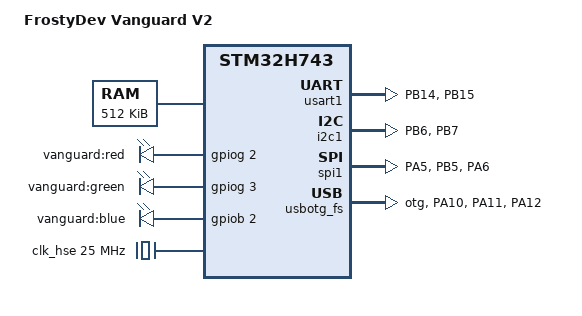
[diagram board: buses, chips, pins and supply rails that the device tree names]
/dts-v1/;
/*
 * Device Tree Source for the Vanguard V2 Flight Controller.
 * Customized for bare-metal XIP execution on the STM32H743VIT.
 * Pin mappings derived from Vanguard V2 board.h
 */
#include "stm32h743.dtsi"
#include "stm32h7-pinctrl.dtsi"
#include <dt-bindings/pinctrl/stm32-pinfunc.h>
#include <dt-bindings/gpio/gpio.h>

/ {
	model = "FrostyDev Vanguard V2";
	compatible = "frostydev,vanguard-v2", "st,stm32h743";

	chosen {
		/* Boot directly from internal initramfs with early debug output */
		bootargs = "root=/dev/ram init=/init console=ttyGS0,115200 ignore_loglevel";
		stdout-path = "serial0:115200n8";
	};

	/* 512KB Internal AXI SRAM mapped for Linux main memory */
	memory@24000000 {
		device_type = "memory";
		reg = <0x24000000 0x80000>;
	};

	aliases {
		serial0 = &usart1;
	};

	/* Vanguard V2 Diagnostics LEDs */
	leds {
		compatible = "gpio-leds";

		led-red {
			label = "vanguard:red";
			gpios = <&gpiog 2 GPIO_ACTIVE_HIGH>; /* PG2 */
			default-state = "off";
		};

		led-green {
			label = "vanguard:green";
			gpios = <&gpiog 3 GPIO_ACTIVE_HIGH>; /* PG3 */
			default-state = "off";
		};

		led-blue {
			label = "vanguard:blue";
			gpios = <&gpiob 2 GPIO_ACTIVE_HIGH>; /* PB2 */
			default-state = "off";
		};
	};
};

/* --- CLOCK OVERRIDES --- */
&clk_hse {
	/* MCO: 25 MHz HSE derived from board.h */
	clock-frequency = <25000000>;
};

/* --- PINCTRL MULTIPLEXING DEFINITIONS --- */
&pinctrl {

	usart1_pins: usart1-0 {
		pins1 {
			pinmux = <STM32_PINMUX('B', 14, AF4)>; /* USART1_TX */
			bias-disable;
			drive-push-pull;
			slew-rate = <0>;
		};
		pins2 {
			pinmux = <STM32_PINMUX('B', 15, AF4)>; /* USART1_RX */
			bias-disable;
		};
	};

	i2c1_pins: i2c1-0 {
		pins {
			pinmux = <STM32_PINMUX('B', 6, AF4)>,  /* I2C1_SCL */
			         <STM32_PINMUX('B', 7, AF4)>;  /* I2C1_SDA */
			bias-disable;
			drive-open-drain;
			slew-rate = <0>;
		};
	};

	spi1_pins: spi1-0 {
		pins1 {
			pinmux = <STM32_PINMUX('A', 5, AF5)>,  /* SPI1_SCK */
			         <STM32_PINMUX('B', 5, AF5)>;  /* SPI1_MOSI */
			bias-disable;
			drive-push-pull;
			slew-rate = <2>;
		};
		pins2 {
			pinmux = <STM32_PINMUX('A', 6, AF5)>;  /* SPI1_MISO */
			bias-disable;
		};
	};

	usbotg_fs_pins: usbotg_fs-0 {
		pins {
			pinmux = <STM32_PINMUX('A', 10, AF10)>, /* OTG_FS_ID */
			         <STM32_PINMUX('A', 11, AF10)>, /* OTG_FS_DM */
			         <STM32_PINMUX('A', 12, AF10)>; /* OTG_FS_DP */
			bias-disable;
			drive-push-pull;
			slew-rate = <2>;
		};
	};
};

/* --- PERIPHERAL ACTIVATION --- */

&usart1 {
	pinctrl-0 = <&usart1_pins>;
	pinctrl-names = "default";
	status = "okay";
};

&i2c1 {
	pinctrl-0 = <&i2c1_pins>;
	pinctrl-names = "default";
	i2c-scl-rising-time-ns = <185>;
	i2c-scl-falling-time-ns = <20>;
	status = "okay";
};

&spi1 {
	pinctrl-0 = <&spi1_pins>;
	pinctrl-names = "default";
	status = "okay";
};

&usbotg_fs {
	pinctrl-0 = <&usbotg_fs_pins>;
	pinctrl-names = "default";
	dr_mode = "otg";
	status = "okay";
};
